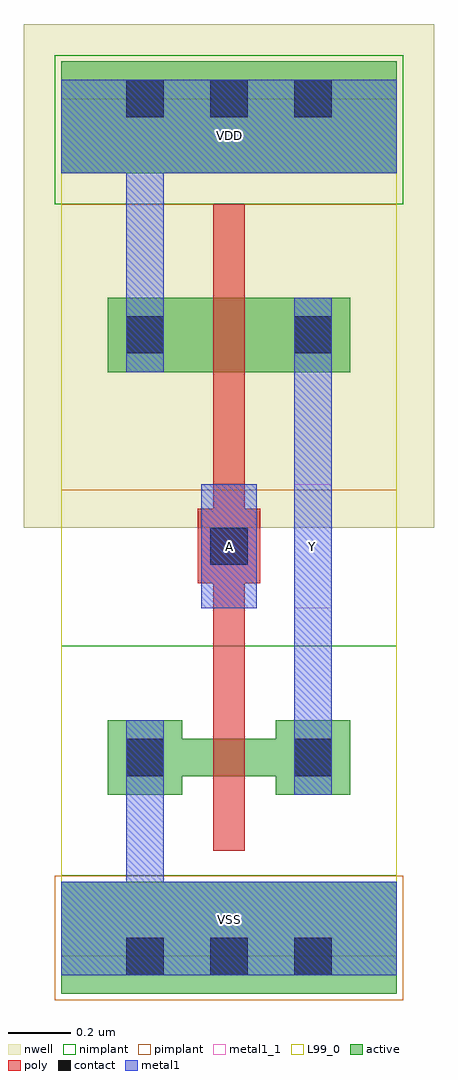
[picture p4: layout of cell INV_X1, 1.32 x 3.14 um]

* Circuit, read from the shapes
.subckt INV_X1 A VDD VSS Y
M1 Y A VSS VSS nfet w=0.12u l=0.1u
M2 Y A VDD VDD pfet w=0.24u l=0.1u
.ends

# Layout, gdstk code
import gdstk
lib = gdstk.Library(unit=1e-6, precision=5e-10)
def R(c, l, rs):  # rectangles x0, y0, x1, y1
    for r in rs: c.add(gdstk.rectangle(r[:2], r[2:], *l))
def A(c, l, x, y, w, h, nx, ny, dx, dy):  # array of equal rectangles
    R(c, l, [(x+i*dx, y+j*dy, x+i*dx+w, y+j*dy+h) for i in range(nx) for j in range(ny)])
active = (1, 0)
nwell = (2, 0)
poly = (3, 0)
nimplant = (4, 0)
pimplant = (5, 0)
contact = (6, 0)
metal1 = (7, 0)
metal1_1 = (7, 1)
L99_0 = (99, 0)

inv_x1 = lib.new_cell('INV_X1')
R(inv_x1, active, [(0,-0.12,1.08,0.24), (0.15,0.52,0.39,0.76), (0.69,0.52,0.93,0.76), (0.39,0.58,0.69,0.7), (0.15,1.88,0.39,2.12), (0.39,1.88,0.69,2.12), (0.69,1.88,0.93,2.12), (0,2.52,1.08,2.88)])
R(inv_x1, nwell, [(-0.12,1.38,1.2,3)])
R(inv_x1, poly, [(0.49,0.34,0.59,2.42), (0.44,1.2,0.64,1.44)])
R(inv_x1, nimplant, [(0,0.26,1.08,1), (-0.02,2.42,1.1,2.9)])
R(inv_x1, pimplant, [(-0.02,-0.14,1.1,0.26), (0,1.5,1.08,2.42)])
A(inv_x1, contact, 0.21, -0.06, 0.12, 0.12, 3, 2, 0.27, 2.76)
R(inv_x1, contact, [(0.21,0.58,0.33,0.7), (0.75,0.58,0.87,0.7), (0.48,1.26,0.6,1.38), (0.21,1.94,0.33,2.06), (0.75,1.94,0.87,2.06)])
R(inv_x1, metal1, [(0,-0.06,1.08,0.24), (0.21,0.06,0.33,0.7), (0.21,0.52,0.33,0.76), (0.75,0.52,0.87,0.76), (0.75,0.58,0.87,2.06), (0.45,1.12,0.63,1.52), (0.21,1.88,0.33,2.12), (0.75,1.88,0.87,2.12), (0.21,1.94,0.33,2.7), (0,2.52,1.08,2.82)])
R(inv_x1, metal1_1, [(0,0,1.08,0.24), (0.45,1.12,0.63,1.52), (0.75,1.12,0.87,1.52), (0,2.52,1.08,2.76)])
R(inv_x1, L99_0, [(0,0,1.08,2.76)])
inv_x1.add(gdstk.Label('Y', (0.81,1.32), layer=7, texttype=3))
inv_x1.add(gdstk.Label('A', (0.54,1.32), layer=7, texttype=3))
inv_x1.add(gdstk.Label('VDD', (0.54,2.64), layer=7, texttype=3))
inv_x1.add(gdstk.Label('VSS', (0.54,0.12), layer=7, texttype=3))

lib.write_gds('INV_X1.gds')
